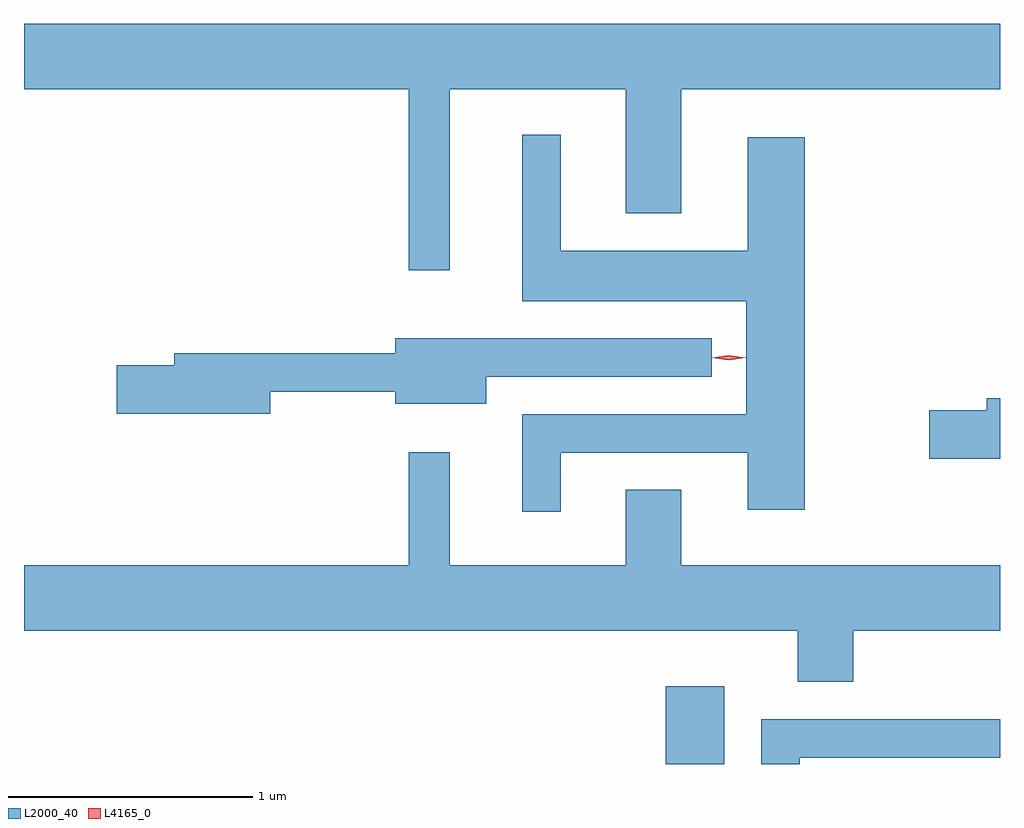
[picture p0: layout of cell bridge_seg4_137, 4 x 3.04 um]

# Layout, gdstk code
import gdstk
lib = gdstk.Library(unit=1e-6, precision=1e-09)
def R(c, l, rs):  # rectangles x0, y0, x1, y1
    for r in rs: c.add(gdstk.rectangle(r[:2], r[2:], *l))
def P(c, l, *ps):  # polygons
    for p in ps: c.add(gdstk.Polygon(p, *l))
L2000_40 = (2000, 40)
L4165_0 = (4165, 0)

bridge_seg4_137 = lib.new_cell('bridge_seg4_137')
R(bridge_seg4_137, L2000_40, [(870.936,1298.628,871.174,1298.949)])
P(bridge_seg4_137, L2000_40, [(870.049,1301.396),(870.771,1301.396),(870.771,1300.886),(870.999,1300.886),(870.999,1301.396),(872.305,1301.396),(872.305,1301.664),(868.305,1301.664),(868.305,1301.396),(869.881,1301.396),(869.881,1300.653),(870.049,1300.653)],
  [(870.504,1299.906),(871.271,1299.906),(871.271,1299.671),(871.504,1299.671),(871.504,1301.199),(871.271,1301.199),(871.271,1300.734),(870.504,1300.734),(870.504,1301.208),(870.346,1301.208),(870.346,1300.526),(871.266,1300.526),(871.266,1300.064),(870.346,1300.064),(870.346,1299.663),(870.504,1299.663)],
  [(869.314,1300.156),(869.826,1300.156),(869.826,1300.106),(870.199,1300.106),(870.199,1300.216),(871.123,1300.216),(871.123,1300.374),(869.826,1300.374),(869.826,1300.314),(868.921,1300.314),(868.921,1300.264),(868.686,1300.264),(868.686,1300.066),(869.314,1300.066)],
  [(872.305,1300.129),(872.251,1300.129),(872.251,1300.079),(872.016,1300.079),(872.016,1299.881),(872.305,1299.881)],
  [(871.704,1299.176),(872.305,1299.176),(872.305,1299.444),(870.999,1299.444),(870.999,1299.754),(870.771,1299.754),(870.771,1299.444),(870.049,1299.444),(870.049,1299.908),(869.881,1299.908),(869.881,1299.444),(868.305,1299.444),(868.305,1299.176),(871.476,1299.176),(871.476,1298.966),(871.704,1298.966)],
  [(871.484,1298.656),(872.305,1298.656),(872.305,1298.814),(871.326,1298.814),(871.326,1298.628),(871.484,1298.628)])
P(bridge_seg4_137, L4165_0, [(871.193,1300.285),(871.128,1300.294),(871.127,1300.295),(871.128,1300.295),(871.193,1300.305),(871.259,1300.295),(871.26,1300.295),(871.259,1300.294)],
  [(871.193,1300.285),(871.124,1300.294),(871.124,1300.295),(871.124,1300.295),(871.193,1300.305),(871.262,1300.295),(871.262,1300.295),(871.262,1300.294)])

lib.write_gds('bridge_seg4_137.gds')
